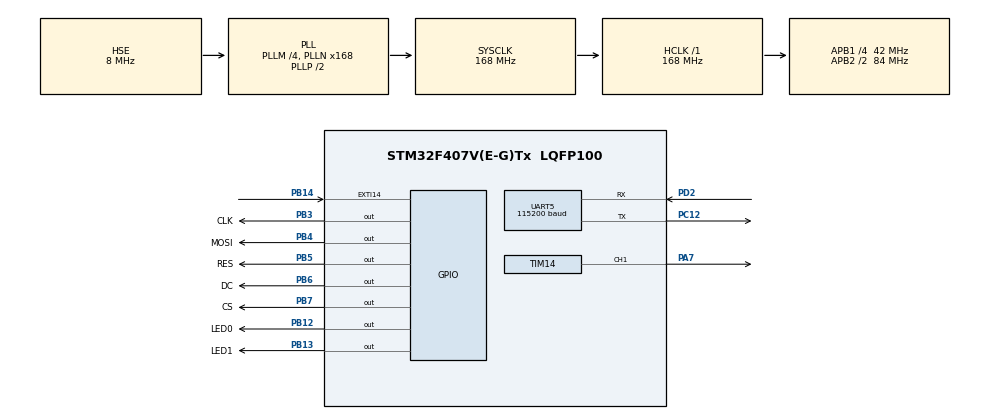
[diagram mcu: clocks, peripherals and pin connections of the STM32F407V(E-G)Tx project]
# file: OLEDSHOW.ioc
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Dma.Request0=UART5_RX
Dma.UART5_RX.0.Direction=DMA_PERIPH_TO_MEMORY
Dma.UART5_RX.0.FIFOMode=DMA_FIFOMODE_DISABLE
Dma.UART5_RX.0.Instance=DMA1_Stream0
Dma.UART5_RX.0.MemDataAlignment=DMA_MDATAALIGN_BYTE
Dma.UART5_RX.0.MemInc=DMA_MINC_ENABLE
Dma.UART5_RX.0.Mode=DMA_NORMAL
Dma.UART5_RX.0.PeriphDataAlignment=DMA_PDATAALIGN_BYTE
Dma.UART5_RX.0.PeriphInc=DMA_PINC_DISABLE
Dma.UART5_RX.0.Priority=DMA_PRIORITY_VERY_HIGH
Mcu.Family=STM32F4
Mcu.Name=STM32F407V(E-G)Tx
Mcu.Package=LQFP100
NVIC.DMA1_Stream0_IRQn=true\:0\:0\:false\:false\:true\:false\:true
NVIC.EXTI15_10_IRQn=true\:2\:0\:true\:false\:true\:true\:true
NVIC.PriorityGroup=NVIC_PRIORITYGROUP_2
PA13.Mode=Serial_Wire
PA13.Signal=SYS_JTMS-SWDIO
PA14.Mode=Serial_Wire
PA14.Signal=SYS_JTCK-SWCLK
PA7.GPIO_PuPd=GPIO_PULLUP
PA7.GPIO_Speed=GPIO_SPEED_FREQ_VERY_HIGH
PA7.Signal=S_TIM14_CH1
PB12.GPIO_Label=LED0
PB12.PinState=GPIO_PIN_SET
PB12.Signal=GPIO_Output
PB13.GPIO_Label=LED1
PB13.Signal=GPIO_Output
PB14.Signal=GPXTI14
PB3.GPIO_Label=CLK
PB3.GPIO_PuPd=GPIO_PULLUP
PB3.GPIO_Speed=GPIO_SPEED_FREQ_VERY_HIGH
PB3.Signal=GPIO_Output
PB4.GPIO_Label=MOSI
PB4.GPIO_PuPd=GPIO_PULLUP
PB4.GPIO_Speed=GPIO_SPEED_FREQ_VERY_HIGH
PB4.Signal=GPIO_Output
PB5.GPIO_Label=RES
PB5.GPIO_PuPd=GPIO_PULLUP
PB5.GPIO_Speed=GPIO_SPEED_FREQ_VERY_HIGH
PB5.Signal=GPIO_Output
PB6.GPIO_Label=DC
PB6.GPIO_PuPd=GPIO_PULLUP
PB6.GPIO_Speed=GPIO_SPEED_FREQ_VERY_HIGH
PB6.Signal=GPIO_Output
PB7.GPIO_Label=CS
PB7.GPIO_PuPd=GPIO_PULLUP
PB7.GPIO_Speed=GPIO_SPEED_FREQ_VERY_HIGH
PB7.Signal=GPIO_Output
PC12.Mode=Asynchronous
PC12.Signal=UART5_TX
PC14-OSC32_IN.Mode=LSE-External-Oscillator
PC14-OSC32_IN.Signal=RCC_OSC32_IN
PC15-OSC32_OUT.Mode=LSE-External-Oscillator
PC15-OSC32_OUT.Signal=RCC_OSC32_OUT
PD2.Mode=Asynchronous
PD2.Signal=UART5_RX
PH0-OSC_IN.Mode=HSE-External-Oscillator
PH0-OSC_IN.Signal=RCC_OSC_IN
PH1-OSC_OUT.Mode=HSE-External-Oscillator
PH1-OSC_OUT.Signal=RCC_OSC_OUT
ProjectManager.HeapSize=0x200
ProjectManager.StackSize=0x400
ProjectManager.TargetToolchain=MDK-ARM V5
RCC.48MHZClocksFreq_Value=48000000
RCC.AHBFreq_Value=168000000
RCC.APB1CLKDivider=RCC_HCLK_DIV4
RCC.APB1Freq_Value=42000000
RCC.APB1TimFreq_Value=84000000
RCC.APB2CLKDivider=RCC_HCLK_DIV2
RCC.APB2Freq_Value=84000000
RCC.APB2TimFreq_Value=168000000
RCC.CortexFreq_Value=168000000
RCC.HCLKFreq_Value=168000000
RCC.HSE_VALUE=8000000
RCC.HSI_VALUE=16000000
RCC.PLLM=4
RCC.PLLN=168
RCC.PLLQ=7
RCC.PLLSourceVirtual=RCC_PLLSOURCE_HSE
RCC.SYSCLKFreq_VALUE=168000000
RCC.SYSCLKSource=RCC_SYSCLKSOURCE_PLLCLK
RCC.VCOOutputFreq_Value=336000000
SH.S_TIM14_CH1.0=TIM14_CH1,PWM Generation1 CH1
TIM14.AutoReloadPreload=TIM_AUTORELOAD_PRELOAD_DISABLE
TIM14.Channel=TIM_CHANNEL_1
TIM14.Period=499
TIM14.Prescaler=83
TIM14.Pulse=480
UART5.BaudRate=115200
UART5.VirtualMode=Asynchronous
VP_RNG_VS_RNG.Mode=RNG_Activate
VP_TIM14_VS_ClockSourceINT.Mode=Enable_Timer
board=custom

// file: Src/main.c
/* USER CODE BEGIN Header */
/**
  ******************************************************************************
  * @file           : main.c
  * @brief          : Main program body
  ******************************************************************************
  * @attention
  *
  * <h2><center>&copy; Copyright (c) 2019 STMicroelectronics.
  * All rights reserved.</center></h2>
  *
  * This software component is licensed by ST under BSD 3-Clause license,
  * the "License"; You may not use this file except in compliance with the
  * License. You may obtain a copy of the License at:
  *                        opensource.org/licenses/BSD-3-Clause
  *
  ******************************************************************************
  */
/* USER CODE END Header */

#include "main.h"
#include "dma.h"
#include "rng.h"
#include "tim.h"
#include "usart.h"
#include "gpio.h"

/* USER CODE BEGIN Includes */
#include "oled.h"
#include "My_main.h"
/* USER CODE END Includes */

/* USER CODE BEGIN PTD */
void HAL_GPIO_EXTI_Callback(uint16_t GPIO_Pin)
{
	if(GPIO_Pin==GPIO_PIN_14)
	{
		HAL_GPIO_TogglePin(GPIOB,GPIO_PIN_12);
		HAL_GPIO_TogglePin(GPIOB,GPIO_PIN_13);
		HAL_Delay(200);
	}
}
/* USER CODE END PTD */

void SystemClock_Config(void);

int main(void)
{
  /* USER CODE BEGIN 1 */
	u8 t=0;
	extern uint8_t command[6];
  /* USER CODE END 1 */

  /* MCU Configuration--------------------------------------------------------*/

  /* Reset of all peripherals, Initializes the Flash interface and the Systick. */
  HAL_Init();

  /* Configure the system clock */
  SystemClock_Config();

  /* Initialize all configured peripherals */
  MX_GPIO_Init();
  MX_DMA_Init();
  MX_UART5_Init();
  MX_RNG_Init();
  MX_TIM14_Init();
  /* USER CODE BEGIN 2 */
	OLED_Init();
	HAL_UART_Receive_DMA(&huart5,command,6);
	HAL_TIM_PWM_Init(&htim14);
	HAL_TIM_PWM_Start(&htim14,TIM_CHANNEL_1);
  /* USER CODE END 2 */

  /* Infinite loop */
  /* USER CODE BEGIN WHILE */
  while (1)
  {
		//printf("123123");
		UserMain();
		OLED_Refresh_Gram();
    /* USER CODE END WHILE */

  }
}

void SystemClock_Config(void)
{
  RCC_OscInitTypeDef RCC_OscInitStruct = {0};
  RCC_ClkInitTypeDef RCC_ClkInitStruct = {0};

  /** Configure the main internal regulator output voltage
  */
  __HAL_RCC_PWR_CLK_ENABLE();
  __HAL_PWR_VOLTAGESCALING_CONFIG(PWR_REGULATOR_VOLTAGE_SCALE1);
  /** Initializes the CPU, AHB and APB busses clocks
  */
  RCC_OscInitStruct.OscillatorType = RCC_OSCILLATORTYPE_HSE;
  RCC_OscInitStruct.HSEState = RCC_HSE_ON;
  RCC_OscInitStruct.PLL.PLLState = RCC_PLL_ON;
  RCC_OscInitStruct.PLL.PLLSource = RCC_PLLSOURCE_HSE;
  RCC_OscInitStruct.PLL.PLLM = 4;
  RCC_OscInitStruct.PLL.PLLN = 168;
  RCC_OscInitStruct.PLL.PLLP = RCC_PLLP_DIV2;
  RCC_OscInitStruct.PLL.PLLQ = 7;
  if (HAL_RCC_OscConfig(&RCC_OscInitStruct) != HAL_OK)
  {
    Error_Handler();
  }
  /** Initializes the CPU, AHB and APB busses clocks
  */
  RCC_ClkInitStruct.ClockType = RCC_CLOCKTYPE_HCLK|RCC_CLOCKTYPE_SYSCLK
                              |RCC_CLOCKTYPE_PCLK1|RCC_CLOCKTYPE_PCLK2;
  RCC_ClkInitStruct.SYSCLKSource = RCC_SYSCLKSOURCE_PLLCLK;
  RCC_ClkInitStruct.AHBCLKDivider = RCC_SYSCLK_DIV1;
  RCC_ClkInitStruct.APB1CLKDivider = RCC_HCLK_DIV4;
  RCC_ClkInitStruct.APB2CLKDivider = RCC_HCLK_DIV2;

  if (HAL_RCC_ClockConfig(&RCC_ClkInitStruct, FLASH_LATENCY_5) != HAL_OK)
  {
    Error_Handler();
  }
}

void Error_Handler(void)
{
}

/************************ (C) COPYRIGHT STMicroelectronics *****END OF FILE****/
